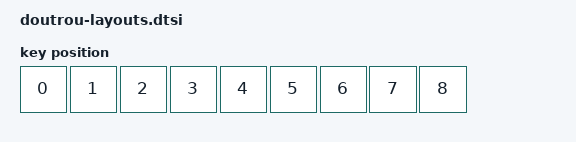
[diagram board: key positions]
#include <physical_layouts.dtsi>

/ {
    physical_layout_doutrou: physical_layout_doutrou {
        compatible = "zmk,physical-layout";
        display-name = "doutrou";
        keys  //                     w   h    x    y     rot    rx    ry
            = <&key_physical_attrs 100 100  100    0       0     0     0>
            , <&key_physical_attrs 100 100  200    0       0     0     0>
            , <&key_physical_attrs 100 100  300    0       0     0     0>
            , <&key_physical_attrs 100 100  400    0       0     0     0>
            , <&key_physical_attrs 100 100  500    0       0     0     0>
            , <&key_physical_attrs 100 100  600    0       0     0     0>
            , <&key_physical_attrs 100 100  700    0       0     0     0>
            , <&key_physical_attrs 100 100  800    0       0     0     0>
            , <&key_physical_attrs 100 100  900    0       0     0     0>
            ;
    };
};
